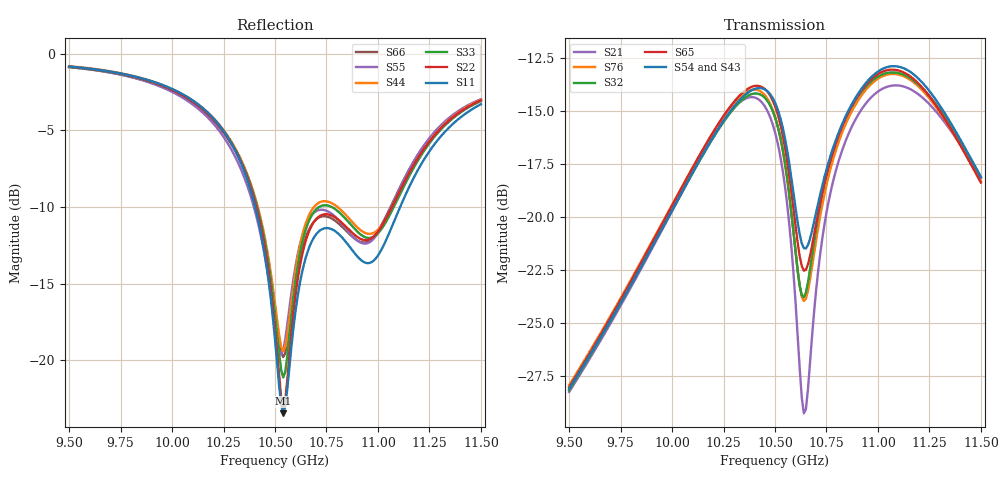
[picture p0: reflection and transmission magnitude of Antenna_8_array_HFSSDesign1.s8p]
! Touchstone file from project Antenna_8_array
! Exported from HFSS 15.0.3
! Variables:
!  D_patch = 9.06mm
!  L = 9.06mm
!  L_feed = 2mm
!  L_sub = 0.01812
!  T = 0.018mm
!  W = 9.06mm
!  W_50 = 1.57138mm
!  W_sub = 0.01812
!  er = 2.2
!  er_eff = 2.07
!  f0 = 10.5GHz
!  h = 20mil
!  lambda = 0.0285714285714286meter
!  pakh = 1.55mm
!  pakh2 = 0mm
!  r_g = 0.55mm
!  r_pad = 1.1mm
!  r_via = 0.15mm
# GHZ S MA R 50.000000
! Modal data exported
! Port[1] = 1:1
! Port[2] = 2:1
! Port[3] = 3:1
! Port[4] = 4:1
! Port[5] = 5:1
! Port[6] = 6:1
! Port[7] = 7:1
! Port[8] = 8:1
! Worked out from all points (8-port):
!   201 points, 9.5 GHz to 11.5 GHz, reference 50 ohm
!   strongest paths, dB at 9.5 GHz, 10 GHz, 10.5 GHz, 11 GHz, 11.5 GHz:
!     S54: -28.1, -19.7, -14.6, -13.1, -18.1
!     S43: -28.4, -19.9, -14.6, -13.2, -18.0
!     S65: -28.0, -19.5, -14.8, -13.2, -18.4
!     S32: -28.2, -19.7, -15.3, -13.4, -18.1
!     S76: -28.0, -19.4, -15.3, -13.5, -18.3
!     S21: -28.3, -19.7, -16.0, -14.1, -18.1
!   lowest |S11| = -23.5 dB at 10.54 GHz (marker M1), VSWR 1.14, Z = 56.9 - j2.1 ohm
!   |S11| at or under -10 dB: 10.4 GHz to 11.11 GHz (704.2 MHz wide, 6.55 % of centre)
